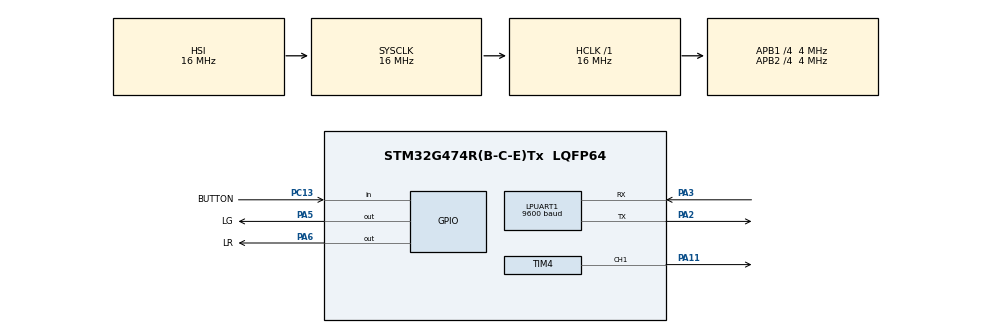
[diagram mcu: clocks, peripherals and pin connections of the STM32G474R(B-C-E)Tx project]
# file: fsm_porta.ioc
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LPUART1.BaudRate=9600
Mcu.Family=STM32G4
Mcu.Name=STM32G474R(B-C-E)Tx
Mcu.Package=LQFP64
NVIC.LPUART1_IRQn=true\:0\:0\:false\:false\:true\:true\:true\:true
NVIC.PriorityGroup=NVIC_PRIORITYGROUP_4
NVIC.TIM6_DAC_IRQn=true\:0\:0\:false\:false\:true\:true\:true\:true
PA11.Signal=S_TIM4_CH1
PA2.Mode=Asynchronous
PA2.Signal=LPUART1_TX
PA3.Mode=Asynchronous
PA3.Signal=LPUART1_RX
PA5.GPIO_Label=LG
PA5.Signal=GPIO_Output
PA6.GPIO_Label=LR
PA6.Signal=GPIO_Output
PC13.GPIO_Label=BUTTON
PC13.Signal=GPIO_Input
ProjectManager.HeapSize=0x200
ProjectManager.StackSize=0x400
ProjectManager.TargetToolchain=STM32CubeIDE
RCC.AHBFreq_Value=16000000
RCC.APB1CLKDivider=RCC_HCLK_DIV4
RCC.APB1Freq_Value=4000000
RCC.APB1TimFreq_Value=8000000
RCC.APB2CLKDivider=RCC_HCLK_DIV4
RCC.APB2Freq_Value=4000000
RCC.APB2TimFreq_Value=8000000
RCC.CortexFreq_Value=16000000
RCC.EXTERNAL_CLOCK_VALUE=12288000
RCC.HCLKFreq_Value=16000000
RCC.HSE_VALUE=8000000
RCC.HSI48_VALUE=48000000
RCC.HSI_VALUE=16000000
RCC.LSE_VALUE=32768
RCC.SYSCLKFreq_VALUE=16000000
RCC.USBFreq_Value=64000000
RCC.VCOOutputFreq_Value=128000000
SH.S_TIM4_CH1.0=TIM4_CH1,PWM Generation1 CH1
TIM4.Channel-PWM\ Generation1\ CH1=TIM_CHANNEL_1
TIM4.PeriodNoDither=40-1
TIM4.Prescaler=4000-1
TIM6.Prescaler=8000-1
VP_SYS_VS_DBSignals.Mode=DisableDeadBatterySignals
VP_TIM4_VS_ClockSourceINT.Mode=Internal
VP_TIM6_VS_ClockSourceINT.Mode=Enable_Timer
board=custom

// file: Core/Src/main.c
/* USER CODE BEGIN Header */
/**
  ******************************************************************************
  * @file           : main.c
  * @brief          : Main program body
  ******************************************************************************
  * @attention
  *
  * Copyright (c) 2026 STMicroelectronics.
  * All rights reserved.
  *
  * This software is licensed under terms that can be found in the LICENSE file
  * in the root directory of this software component.
  * If no LICENSE file comes with this software, it is provided AS-IS.
  *
  ******************************************************************************
  */
/* USER CODE END Header */
#include "main.h"
#include "usart.h"
#include "tim.h"
#include "gpio.h"

/* USER CODE BEGIN Includes */
#include "fsm_logic.h"
/* USER CODE END Includes */

/* USER CODE BEGIN PD */
#define MSG_SIZE 50
#define NUM_MSGS 8
/* USER CODE END PD */

void SystemClock_Config(void);

int main(void)
{

  /* MCU Configuration--------------------------------------------------------*/

  /* Reset of all peripherals, Initializes the Flash interface and the Systick. */
  HAL_Init();

  /* Configure the system clock */
  SystemClock_Config();

  /* Initialize all configured peripherals */
  MX_GPIO_Init();
  MX_LPUART1_UART_Init();
  MX_TIM4_Init();
  MX_TIM6_Init();
  /* USER CODE BEGIN 2 */
led_t lg , lr ;
button_t button;
timer_t timer;
uint8_t bufferQueue[NUM_MSGS * MSG_SIZE];
queue_t queueMessages; //allocate memory for our queue of messages
if(led_init(&lg , LG_GPIO_Port , LG_Pin , GPIO_PIN_RESET) != LED_OK) return -1;
if(led_init(&lr , LR_GPIO_Port , LR_Pin , GPIO_PIN_RESET) != LED_OK) return -1;
if(button_init(&button , BUTTON_GPIO_Port , BUTTON_Pin , GPIO_PIN_RESET) != BUTTON_OK) return -1;
if(timer_init(&timer  , &htim6, 8000000) != TIMER_OK) return -1;
queue_init(&queueMessages , bufferQueue , MSG_SIZE , NUM_MSGS);
if(FSM_init(40,  &lg,  &lr, &button, &timer , &queueMessages) != FSM_OK) return -1;

  /* USER CODE END 2 */

  /* Infinite loop */
  /* USER CODE BEGIN WHILE */
  while (1)
  {

	  if(FSM_step () != FSM_OK) return -1;
	  uart_tx_task();
    /* USER CODE END WHILE */

  }
}

void SystemClock_Config(void)
{
  RCC_OscInitTypeDef RCC_OscInitStruct = {0};
  RCC_ClkInitTypeDef RCC_ClkInitStruct = {0};

  /** Configure the main internal regulator output voltage
  */
  HAL_PWREx_ControlVoltageScaling(PWR_REGULATOR_VOLTAGE_SCALE1);

  /** Initializes the RCC Oscillators according to the specified parameters
  * in the RCC_OscInitTypeDef structure.
  */
  RCC_OscInitStruct.OscillatorType = RCC_OSCILLATORTYPE_HSI;
  RCC_OscInitStruct.HSIState = RCC_HSI_ON;
  RCC_OscInitStruct.HSICalibrationValue = RCC_HSICALIBRATION_DEFAULT;
  RCC_OscInitStruct.PLL.PLLState = RCC_PLL_NONE;
  if (HAL_RCC_OscConfig(&RCC_OscInitStruct) != HAL_OK)
  {
    Error_Handler();
  }

  /** Initializes the CPU, AHB and APB buses clocks
  */
  RCC_ClkInitStruct.ClockType = RCC_CLOCKTYPE_HCLK|RCC_CLOCKTYPE_SYSCLK
                              |RCC_CLOCKTYPE_PCLK1|RCC_CLOCKTYPE_PCLK2;
  RCC_ClkInitStruct.SYSCLKSource = RCC_SYSCLKSOURCE_HSI;
  RCC_ClkInitStruct.AHBCLKDivider = RCC_SYSCLK_DIV1;
  RCC_ClkInitStruct.APB1CLKDivider = RCC_HCLK_DIV4;
  RCC_ClkInitStruct.APB2CLKDivider = RCC_HCLK_DIV4;

  if (HAL_RCC_ClockConfig(&RCC_ClkInitStruct, FLASH_LATENCY_0) != HAL_OK)
  {
    Error_Handler();
  }
}

void Error_Handler(void)
{
  __disable_irq();
  while (1)
  {
  }
}
